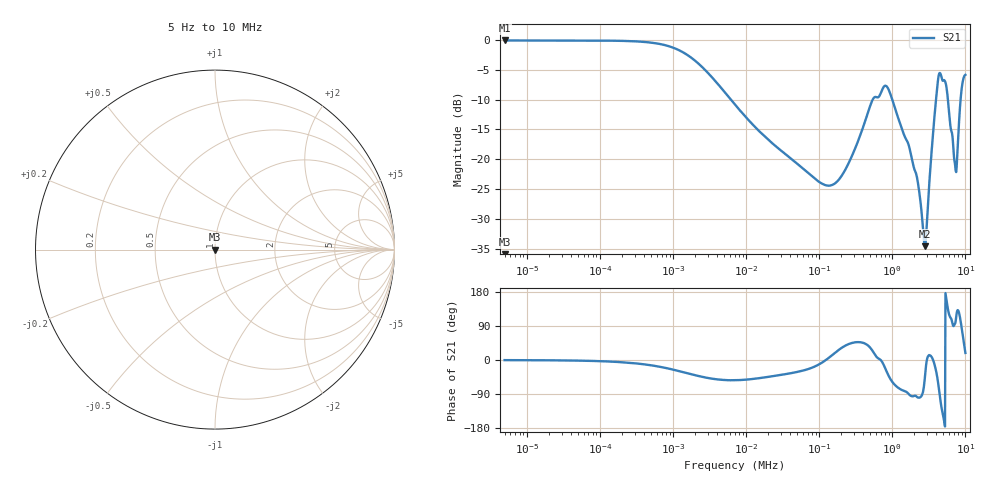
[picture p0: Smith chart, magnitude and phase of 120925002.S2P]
!Agilent Technologies,E5061B,MY49204007,A.02.12
!Date: Fri Sep 12 09:46:39 2025
!Data & Calibration Information:
!Freq	S11:SOLT2(OFF)	S21:SOLT2(OFF)	S12:SOLT2(OFF)	S22:SOLT2(OFF)
# Hz S dB R 50
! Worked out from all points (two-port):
!   1041 points, 5 Hz to 10 MHz, reference 50 ohm
!   highest |S21| = -0.04 dB at 5 Hz (marker M1); lowest = -34.6 dB at 2.816 MHz (marker M2)
!   |S21| within 3 dB of the highest: start of sweep to 1.83 kHz
!   lowest |S11| = - dB at 5 Hz (marker M3), VSWR 1.00, Z = 50 + j0 ohm
!   |S11| at or under -10 dB: start of sweep to end of sweep
!   S12 and S22 are empty: the file has one direction only
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5  -200.00 0.0  -0.04 -0.3  -200.00 0.0  -200.00 0.0
56.522  -200.00 0.0  -0.05 -1.8  -200.00 0.0  -200.00 0.0
632.897  -200.00 0.0  -0.58 -17.1  -200.00 0.0  -200.00 0.0
1929.818  -200.00 0.0  -3.26 -39.3  -200.00 0.0  -200.00 0.0
7154.49  -200.00 0.0  -10.87 -53.3  -200.00 0.0  -200.00 0.0
80111.67  -200.00 0.0  -22.86 -20.2  -200.00 0.0  -200.00 0.0
186984.1  -200.00 0.0  -23.39 27.2  -200.00 0.0  -200.00 0.0
489893.7  -200.00 0.0  -11.30 34.3  -200.00 0.0  -200.00 0.0
747988.5  -200.00 0.0  -8.03 -9.3  -200.00 0.0  -200.00 0.0
893075.1  -200.00 0.0  -8.31 -41.9  -200.00 0.0  -200.00 0.0
1744260  -200.00 0.0  -18.44 -93.1  -200.00 0.0  -200.00 0.0
2816350  -200.00 0.0  -34.61 -38.0  -200.00 0.0  -200.00 0.0
3636709  -200.00 0.0  -15.18 -1.3  -200.00 0.0  -200.00 0.0
3999130  -200.00 0.0  -9.52 -31.7  -200.00 0.0  -200.00 0.0
4378536  -200.00 0.0  -5.62 -81.8  -200.00 0.0  -200.00 0.0
4694707  -200.00 0.0  -6.09 -123.2  -200.00 0.0  -200.00 0.0
5137346  -200.00 0.0  -6.71 -162.2  -200.00 0.0  -200.00 0.0
5860704  -200.00 0.0  -10.91 127.4  -200.00 0.0  -200.00 0.0
7255215  -200.00 0.0  -21.13 96.8  -200.00 0.0  -200.00 0.0
8438310  -200.00 0.0  -11.24 112.5  -200.00 0.0  -200.00 0.0
9159090  -200.00 0.0  -7.08 67.8  -200.00 0.0  -200.00 0.0
1e7  -200.00 0.0  -5.81 18.6  -200.00 0.0  -200.00 0.0
